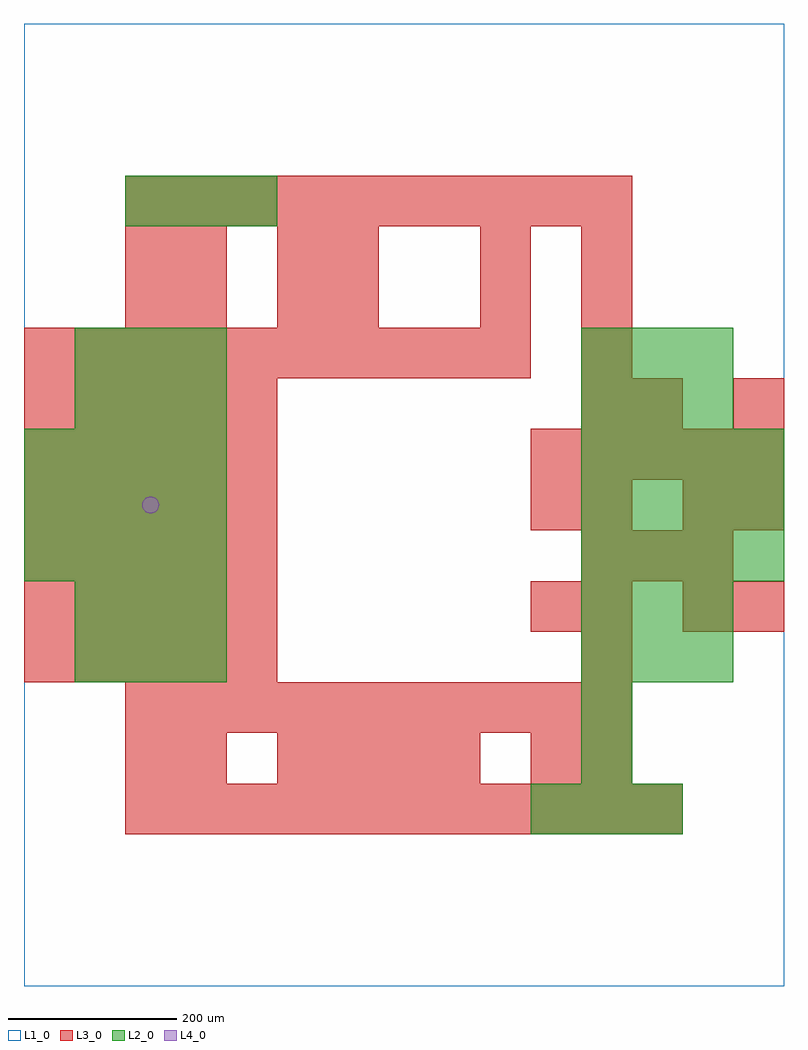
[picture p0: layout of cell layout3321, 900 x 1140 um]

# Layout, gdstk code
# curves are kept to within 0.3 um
import gdstk
lib = gdstk.Library(unit=1e-6, precision=1e-09)
def R(c, l, rs):  # rectangles x0, y0, x1, y1
    for r in rs: c.add(gdstk.rectangle(r[:2], r[2:], *l))
def A(c, l, x, y, w, h, nx, ny, dx, dy):  # array of equal rectangles
    R(c, l, [(x+i*dx, y+j*dy, x+i*dx+w, y+j*dy+h) for i in range(nx) for j in range(ny)])
def P(c, l, *ps):  # polygons
    for p in ps: c.add(gdstk.Polygon(p, *l))
L1_0 = (1, 0)
L2_0 = (2, 0)
L3_0 = (3, 0)
L4_0 = (4, 0)

layout3321 = lib.new_cell('layout3321')
R(layout3321, L1_0, [(0,0,900,1140)])
A(layout3321, L2_0, 600, 180, 60, 60, 3, 1, 60, 0)
A(layout3321, L2_0, 60, 360, 60, 60, 3, 2, 60, 60)
A(layout3321, L2_0, 660, 360, 60, 60, 3, 2, 60, 60)
A(layout3321, L2_0, 0, 480, 60, 60, 4, 3, 60, 60)
A(layout3321, L2_0, 660, 480, 60, 60, 4, 3, 60, 60)
A(layout3321, L2_0, 60, 660, 60, 60, 3, 2, 60, 60)
A(layout3321, L2_0, 660, 660, 60, 60, 3, 2, 60, 60)
A(layout3321, L2_0, 120, 900, 60, 60, 3, 1, 60, 0)
R(layout3321, L2_0, [(660,240,720,300), (660,300,720,360)])
A(layout3321, L3_0, 120, 180, 60, 60, 11, 1, 60, 0)
A(layout3321, L3_0, 300, 240, 60, 60, 4, 1, 60, 0)
A(layout3321, L3_0, 120, 300, 60, 60, 10, 2, 60, 600)
A(layout3321, L3_0, 0, 360, 60, 60, 5, 6, 60, 60)
A(layout3321, L3_0, 660, 420, 60, 60, 1, 3, 0, 120)
A(layout3321, L3_0, 840, 420, 60, 60, 1, 3, 0, 120)
A(layout3321, L3_0, 660, 480, 60, 60, 3, 1, 60, 0)
A(layout3321, L3_0, 600, 600, 60, 60, 5, 1, 60, 0)
A(layout3321, L3_0, 0, 720, 60, 60, 10, 1, 60, 0)
A(layout3321, L3_0, 660, 720, 60, 60, 1, 3, 0, 60)
R(layout3321, L3_0, [(120,240,180,300), (180,240,240,300), (600,240,660,300), (660,240,720,300), (660,360,720,420), (600,420,660,480), (780,420,840,480), (600,540,660,600), (780,540,840,600), (720,660,780,720), (120,780,180,840), (180,780,240,840), (300,780,360,840), (360,780,420,840), (540,780,600,840), (120,840,180,900), (180,840,240,900), (300,840,360,900), (360,840,420,900), (540,840,600,900)])
P(layout3321, L4_0, [(160,570),(159.239,573.827),(157.071,577.071),(153.827,579.239),(150,580),(146.173,579.239),(142.929,577.071),(140.761,573.827),(140,570),(140.761,566.173),(142.929,562.929),(146.173,560.761),(150,560),(153.827,560.761),(157.071,562.929),(159.239,566.173)])

lib.write_gds('layout3321.gds')
